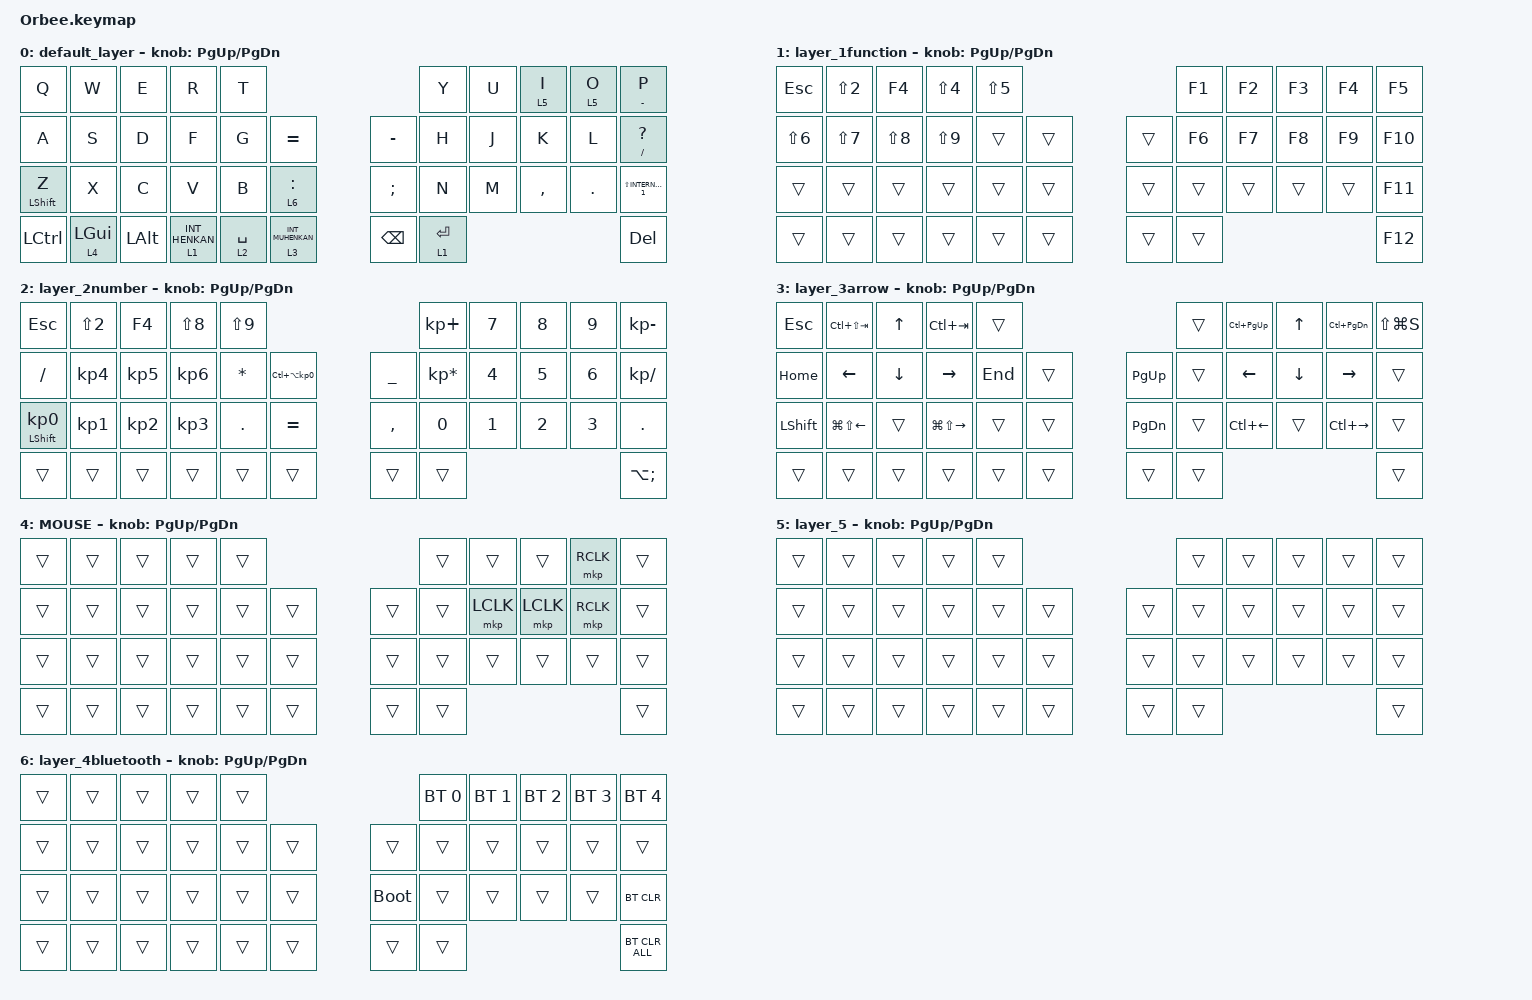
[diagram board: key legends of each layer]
#include <dt-bindings/zmk/mouse.h>
#include <behaviors.dtsi>
#include <dt-bindings/zmk/bt.h>
#include <dt-bindings/zmk/keys.h>
#include <dt-bindings/zmk/pointing.h>

#define MOUSE 6
#define SCROLL 5

&mt {
    flavor = "balanced";
    quick-tap-ms = <0>;
};

&lt { quick-tap-ms = <300>; };

/ {
    combos {
        compatible = "zmk,combos";

        tab {
            bindings = <&kp TAB>;
            key-positions = <10 11>;
        };

        escape {
            bindings = <&kp ESC>;
            key-positions = <0 1>;
        };

        tab-shift {
            bindings = <&kp LS(TAB)>;
            key-positions = <12 13>;
        };
    };

    macros {
        to_layer_0: to_layer_0 {
            compatible = "zmk,behavior-macro-one-param";
            #binding-cells = <1>;
            bindings = <&to 0 &macro_param_1to1 &kp MACRO_PLACEHOLDER>;
            label = "TO_LAYER_0";
        };
    };

    behaviors {
        right_click: right_click_behavior {
            compatible = "zmk,behavior-mouse-key";
            label = "RIGHT_CLICK";
            #binding-cells = <0>;
            bindings = <&mkp MB2>;
        };

        lt_to_layer_0: lt_to_layer_0 {
            compatible = "zmk,behavior-hold-tap";
            label = "LAYER_TAP_TO_0";
            bindings = <&mo>, <&to_layer_0>;

            #binding-cells = <2>;
            tapping-term-ms = <200>;
        };
    };

    keymap {
        compatible = "zmk,keymap";

        default_layer {
            bindings = <
&kp Q             &kp W           &kp E         &kp R             &kp T                                             &kp Y        &kp U  &lt 5 I    &lt 5 O  &mt MINUS P
&kp A             &kp S           &kp D         &kp F             &kp G        &kp EQUAL             &kp MINUS      &kp H        &kp J  &kp K      &kp L    &mt SLASH QUESTION
&mt LEFT_SHIFT Z  &kp X           &kp C         &kp V             &kp B        &lt 6 COLON           &kp SEMICOLON  &kp N        &kp M  &kp COMMA  &kp DOT  &kp LS(INTERNATIONAL_1)
&kp LCTRL         &lt 4 LEFT_GUI  &kp LEFT_ALT  &lt 1 INT_HENKAN  &lt 2 SPACE  &lt 3 INT_MUHENKAN    &kp BACKSPACE  &lt 1 ENTER                             &kp DEL
            >;

            sensor-bindings = <&inc_dec_kp PG_UP PAGE_DOWN>;
        };

        layer_1function {
            bindings = <
&kp ESC     &kp LS(N2)  &kp F4      &kp LS(NUMBER_4)  &kp LS(N5)                    &kp F1  &kp F2  &kp F3  &kp F4  &kp F5
&kp LS(N6)  &kp LS(N7)  &kp LS(N8)  &kp LS(N9)        &trans      &trans    &trans  &kp F6  &kp F7  &kp F8  &kp F9  &kp F10
&trans      &trans      &trans      &trans            &trans      &trans    &trans  &trans  &trans  &trans  &trans  &kp F11
&trans      &trans      &trans      &trans            &trans      &trans    &trans  &trans                          &kp F12
            >;

            sensor-bindings = <&inc_dec_kp PG_UP PAGE_DOWN>;
        };

        layer_2number {
            bindings = <
&kp ESC                     &kp LS(NUMBER_2)  &kp F4           &kp LS(N8)       &kp LS(N9)                                               &kp KP_PLUS      &kp N7  &kp N8  &kp N9  &kp KP_MINUS
&kp SLASH                   &kp KP_NUMBER_4   &kp KP_NUMBER_5  &kp KP_NUMBER_6  &kp ASTERISK  &kp LC(LA(KP_NUMBER_0))    &kp UNDERSCORE  &kp KP_MULTIPLY  &kp N4  &kp N5  &kp N6  &kp KP_SLASH
&mt LEFT_SHIFT KP_NUMBER_0  &kp KP_NUMBER_1   &kp KP_NUMBER_2  &kp KP_NUMBER_3  &kp PERIOD    &kp EQUAL                  &kp COMMA       &kp N0           &kp N1  &kp N2  &kp N3  &kp DOT
&trans                      &trans            &trans           &trans           &trans        &trans                     &trans          &trans                                   &kp LA(SEMI)
            >;

            sensor-bindings = <&inc_dec_kp PG_UP PAGE_DOWN>;
        };

        layer_3arrow {
            bindings = <
&kp ESCAPE      &kp LC(LS(TAB))         &kp UP_ARROW    &kp LC(TAB)              &trans                            &trans  &kp LC(PAGE_UP)     &kp UP_ARROW  &kp LC(PAGE_DOWN)    &kp LS(LG(S))
&kp HOME        &kp LEFT_ARROW          &kp DOWN_ARROW  &kp RIGHT_ARROW          &kp END  &trans    &kp PAGE_UP    &trans  &kp LEFT_ARROW      &kp DOWN      &kp RIGHT_ARROW      &trans
&kp LEFT_SHIFT  &kp LG(LS(LEFT_ARROW))  &trans          &kp LG(LS(RIGHT_ARROW))  &trans   &trans    &kp PAGE_DOWN  &trans  &kp LC(LEFT_ARROW)  &trans        &kp LC(RIGHT_ARROW)  &trans
&trans          &trans                  &trans          &trans                   &trans   &trans    &trans         &trans                                                         &trans
            >;

            sensor-bindings = <&inc_dec_kp PG_UP PAGE_DOWN>;
        };

        MOUSE {
            bindings = <
&trans  &trans  &trans  &trans  &trans                    &trans  &trans     &trans     &mkp RCLK  &trans
&trans  &trans  &trans  &trans  &trans  &trans    &trans  &trans  &mkp LCLK  &mkp LCLK  &mkp RCLK  &trans
&trans  &trans  &trans  &trans  &trans  &trans    &trans  &trans  &trans     &trans     &trans     &trans
&trans  &trans  &trans  &trans  &trans  &trans    &trans  &trans                                   &trans
            >;

            sensor-bindings = <&inc_dec_kp PG_UP PAGE_DOWN>;
        };

        layer_5 {
            bindings = <
&trans  &trans  &trans  &trans  &trans                    &trans  &trans  &trans  &trans  &trans
&trans  &trans  &trans  &trans  &trans  &trans    &trans  &trans  &trans  &trans  &trans  &trans
&trans  &trans  &trans  &trans  &trans  &trans    &trans  &trans  &trans  &trans  &trans  &trans
&trans  &trans  &trans  &trans  &trans  &trans    &trans  &trans                          &trans
            >;

            sensor-bindings = <&inc_dec_kp PG_UP PAGE_DOWN>;
        };

        layer_4bluetooth {
            bindings = <
&trans  &trans  &trans  &trans  &trans                         &bt BT_SEL 0  &bt BT_SEL 1  &bt BT_SEL 2  &bt BT_SEL 3  &bt BT_SEL 4
&trans  &trans  &trans  &trans  &trans  &trans    &trans       &trans        &trans        &trans        &trans        &trans
&trans  &trans  &trans  &trans  &trans  &trans    &bootloader  &trans        &trans        &trans        &trans        &bt BT_CLR
&trans  &trans  &trans  &trans  &trans  &trans    &trans       &trans                                                  &bt BT_CLR_ALL
            >;

            sensor-bindings = <&inc_dec_kp PG_UP PAGE_DOWN>;
        };
    };
};
